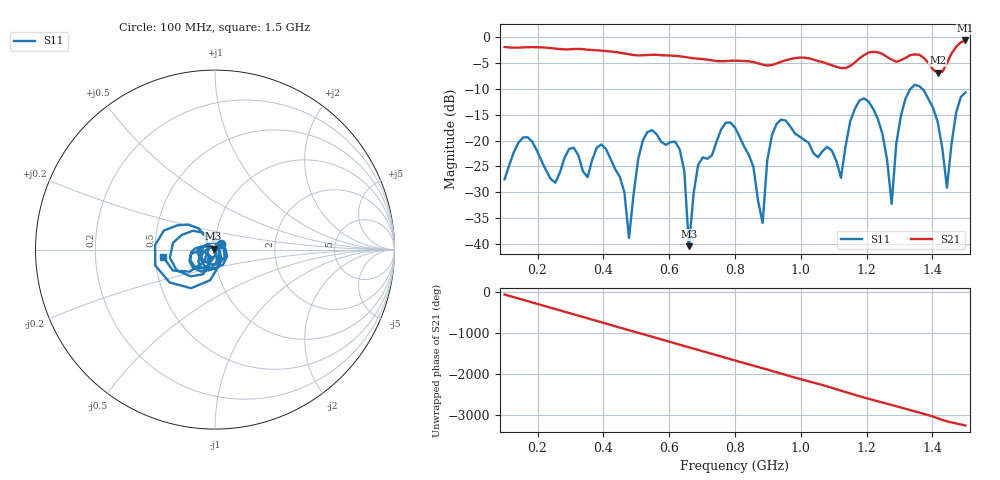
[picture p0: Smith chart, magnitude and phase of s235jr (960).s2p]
! NanoVNA-App
! Date: 2025-09-25 15:11:38
! Start: 100MHz Stop: 1,5GHz Points: 101
! S-Parameter data: F S11 S21 S12 S22
# Hz S RI R 50
!  Frequency  S11_Real  S11_Imag  S21_Real  S21_Imag  S12_Real  S12_Imag  S22_Real  S22_Imag
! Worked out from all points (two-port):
!   101 points, 100 MHz to 1.5 GHz, reference 50 ohm
!   highest |S21| = -0.70 dB at 1.5 GHz (marker M1); lowest = -6.9 dB at 1.416 GHz (marker M2)
!   |S21| within 3 dB of the highest: start of sweep to 623.7 MHz; 1.188 GHz to 1.258 GHz (69.44 MHz wide, 5.68 % of centre) (the widest 2 of 4)
!   lowest |S11| = -40.4 dB at 660 MHz (marker M3), VSWR 1.02, Z = 49.2 + j0.525 ohm
!   |S11| at or under -10 dB: start of sweep to 1.334 GHz; 1.368 GHz to end of sweep
!   S12 and S22 are empty: the file has one direction only
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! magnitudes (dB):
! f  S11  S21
! 100 MHz  -27.5  -2.0
! 156 MHz  -19.4  -2.0
! 338 MHz  -25.9  -2.4
! 408 MHz  -21.6  -2.7
! 478 MHz  -38.8  -3.4
! 520 MHz  -20.0  -3.6
! 576 MHz  -20.3  -3.5
! 632 MHz  -21.7  -3.7
! 660 MHz  -40.4  -4.0
! 688 MHz  -24.7  -4.2
! 800 MHz  -17.5  -4.6
! 884 MHz  -35.9  -5.4
! 926 MHz  -16.8  -5.2
! 1.038 GHz  -22.4  -4.4
! 1.122 GHz  -27.2  -6.0
! 1.192 GHz  -11.9  -3.5
! 1.248 GHz  -18.7  -3.3
! 1.276 GHz  -32.2  -4.4
! 1.332 GHz  -10.1  -3.5
! 1.416 GHz  -16.5  -6.9
! 1.444 GHz  -29.1  -5.1
! 1.5 GHz  -10.7  -0.7
